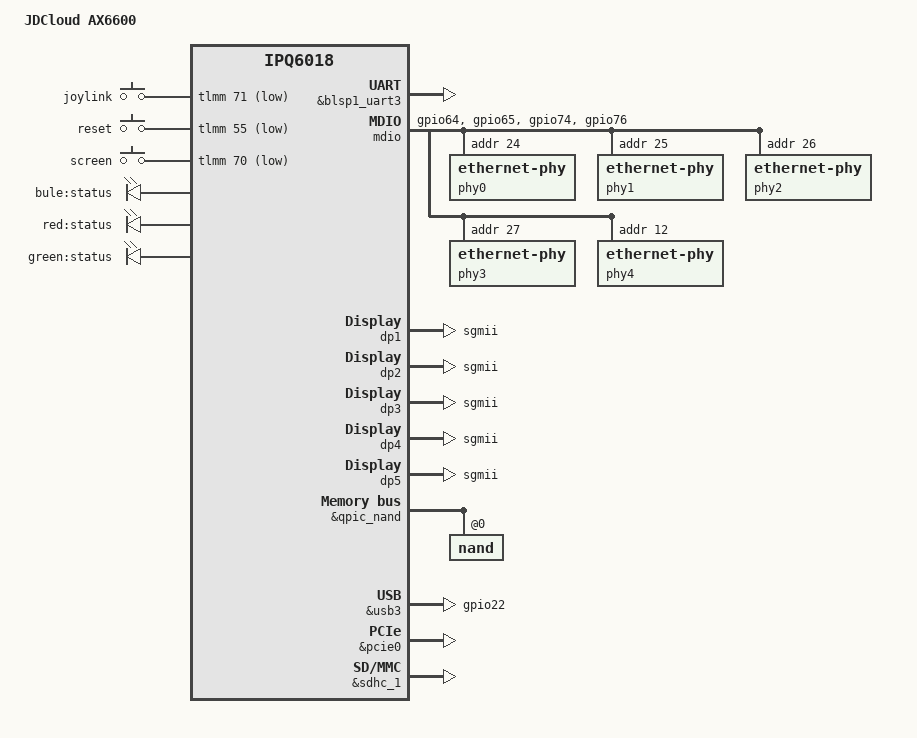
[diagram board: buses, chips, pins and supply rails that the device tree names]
// SPDX-License-Identifier: (GPL-2.0+ OR BSD-3-Clause)
/*
 * IPQ6018 CP01 board device tree source
 *
 * Copyright (c) 2019-2021 The Linux Foundation. All rights reserved.
 */

/dts-v1/;

#include "ipq6018.dtsi"
#include "ipq6018-512m.dtsi"
#include "ipq6018-ess.dtsi"
#include "ipq6018-nss.dtsi"

#include <dt-bindings/input/input.h>

/ {
	model = "JDCloud AX6600";
	compatible = "jdcloud,ax6600", "qcom,ipq6018-ap-cp01-c3", "qcom,ipq6018-ap-cp01", "qcom,ipq6018";
	aliases {
		led-boot = &led_red;
		led-failsafe = &led_red;
		led-running = &led_green;
		led-upgrade = &led_green;
		serial0 = &blsp1_uart3;
		sdhc1 = &sdhc_1;
		/*
		 * Aliases as required by u-boot
		 * to patch MAC addresses
		 */
		ethernet0 = "/soc/dp1";
		ethernet1 = "/soc/dp2";
		ethernet2 = "/soc/dp3";
		ethernet3 = "/soc/dp4";
		ethernet4 = "/soc/dp5";
	};

	chosen {
		bootargs = "console=ttyMSM0,115200,n8";
		bootargs-append = " rootfstype=squashfs,ext4 swiotlb=1 coherent_pool=2M";
	};


&blsp1_uart3 {
	pinctrl-0 = <&serial_3_pins>;
	pinctrl-names = "default";
	status = "ok";
};

&tlmm {
	/*
	 * When your device is JDCloud, you need to add this compatible,
	 * if gpio > 20, for example gpio65, you should use gpio64 in this dts!
	 */
	compatible = "jdc,nmsl-pinctrl";
	mdio_pins: mdio_pinmux {
		mux_0 {
			pins = "gpio64";
			function = "mdc";
			drive-strength = <8>;
			bias-pull-up;
		};
		mux_1 {
			pins = "gpio65";
			function = "mdio";
			drive-strength = <8>;
			bias-pull-up;
		};
		mux_2 {
			pins = "gpio74";
			function = "gpio";
			bias-pull-up;
		};
		mux_3 {
			pins = "gpio76";
			function = "gpio";
			bias-pull-up;
		};
	};

	tmp1628_pins: tmp1628_pins {
		dio {
			pins = "gpio73";
			function = "gpio";
			drive-strength = <8>;
			bias-pull-down;
		};

		clk {
			pins = "gpio72";
			function = "gpio";
			drive-strength = <8>;
			bias-pull-down;
		};

		stb1 {
			pins = "gpio68";
			function = "gpio";
			drive-strength = <8>;
			bias-pull-down;
		};

		stb2 {
			pins = "gpio69";
			function = "gpio";
			drive-strength = <8>;
			bias-pull-down;
		};
	};

	button_pins: button_pins {
		joylink_button {
			pins = "gpio71";
			function = "gpio";
			drive-strength = <8>;
			bias-pull-down;
		};

		reset_button {
			pins = "gpio55";
			function = "gpio";
			drive-strength = <8>;
			bias-pull-down;
		};

		screen_button {
			pins = "gpio70";
			function = "gpio";
			drive-strength = <8>;
			bias-pull-down;
		};
	};

	leds_pins: leds_pins {
		led_b1 {
			pins = "gpio78";
			function = "gpio";
			drive-strength = <8>;
			bias-pull-down;
		};

		led_r1 {
			pins = "gpio56";
			function = "gpio";
			drive-strength = <8>;
			bias-pull-down;
		};

		led_g1 {
			pins = "gpio57";
			function = "gpio";
			drive-strength = <8>;
			bias-pull-down;
		};
	};

	usb_power: usb_power {
		pins = "gpio22";
		function = "gpio";
		drive-strength = <8>;
		output-high;
		bias-pull-up;
	};
};

&soc {
	mdio: mdio@90000 {
		pinctrl-0 = <&mdio_pins>;
		pinctrl-names = "default";
		phy-reset-gpio = <&tlmm 74 1 &tlmm 76 1>;
		status = "ok";
		phy0: ethernet-phy@0 {
			reg = <24>;
		};
		phy1: ethernet-phy@1 {
			reg = <25>;
		};
		phy2: ethernet-phy@2 {
			reg = <26>;
		};
		phy3: ethernet-phy@3 {
			reg = <27>;
		};
		phy4: ethernet-phy@4 {
			reg = <12>;
		};
	};

	dp1 {
		device_type = "network";
		compatible = "qcom,nss-dp";
		qcom,id = <1>;
		reg = <0x3a001000 0x200>;
		qcom,mactype = <0>;
		local-mac-address = [000000000000];
		qcom,link-poll = <1>;
		qcom,phy-mdio-addr = <24>;
		phy-mode = "sgmii";
	};

	dp2 {
		device_type = "network";
		compatible = "qcom,nss-dp";
		qcom,id = <2>;
		reg = <0x3a001200 0x200>;
		qcom,mactype = <0>;
		local-mac-address = [000000000000];
		qcom,link-poll = <1>;
		qcom,phy-mdio-addr = <25>;
		phy-mode = "sgmii";
	};

	dp3 {
		device_type = "network";
		compatible = "qcom,nss-dp";
		qcom,id = <3>;
		reg = <0x3a001400 0x200>;
		qcom,mactype = <0>;
		local-mac-address = [000000000000];
		qcom,link-poll = <1>;
		qcom,phy-mdio-addr = <26>;
		phy-mode = "sgmii";
	};

	dp4 {
		device_type = "network";
		compatible = "qcom,nss-dp";
		qcom,id = <4>;
		reg = <0x3a001600 0x200>;
		qcom,mactype = <0>;
		local-mac-address = [000000000000];
		qcom,link-poll = <1>;
		qcom,phy-mdio-addr = <27>;
		phy-mode = "sgmii";
	};

	dp5 {
		device_type = "network";
		compatible = "qcom,nss-dp";
		qcom,id = <5>;
		reg = <0x3a001800 0x200>;
		qcom,mactype = <0>;
		local-mac-address = [000000000000];
		qcom,link-poll = <1>;
		qcom,phy-mdio-addr = <12>;
		phy-mode = "sgmii";
	};

	ess-switch@3a000000 {
		switch_cpu_bmp = <0x1>;  /* cpu port bitmap */
		switch_lan_bmp = <0x1e>; /* lan port bitmap */
		switch_wan_bmp = <0x20>; /* wan port bitmap */
		switch_inner_bmp = <0xc0>; /*inner port bitmap*/
		switch_mac_mode = <0x0>; /* mac mode for uniphy instance0*/
		switch_mac_mode1 = <0xf>; /* mac mode for uniphy instance1*/
		switch_mac_mode2 = <0xff>; /* mac mode for uniphy instance2*/
		qcom,port_phyinfo {
			port@0 {
				port_id = <1>;
				phy_address = <24>;
			};
			port@1 {
				port_id = <2>;
				phy_address = <25>;
			};
			port@2 {
				port_id = <3>;
				phy_address = <26>;
			};
			port@3 {
				port_id = <4>;
				phy_address = <27>;
			};
			port@4 {
				port_id = <5>;
				phy_address = <12>;
				port_mac_sel = "QGMAC_PORT";
			};
		};
	};

	keys {
		compatible = "gpio-keys";
		pinctrl-0 = <&button_pins>;
		pinctrl-names = "default";

		joylink {
			label = "joylink";
			linux,code = <BTN_0>;
			gpios = <&tlmm 71 GPIO_ACTIVE_LOW>;
			linux,input-type = <1>;
			debounce-interval = <60>;
		};

		reset {
			label = "reset";
			linux,code = <KEY_RESTART>;
			gpios = <&tlmm 55 GPIO_ACTIVE_LOW>;
			linux,input-type = <1>;
			debounce-interval = <60>;
		};

		screen {
			label = "screen";
			linux,code = <BTN_1>;
			gpios = <&tlmm 70 GPIO_ACTIVE_LOW>;
			linux,input-type = <1>;
			debounce-interval = <60>;
		};
	};

	leds {
		compatible = "gpio-leds";
		pinctrl-0 = <&leds_pins>;
		pinctrl-names = "default";

		led_blue: led_b1 {
			label = "bule:status";
			gpio = <&tlmm 78 GPIO_ACTIVE_HIGH>;
		};

		led_red: led_r1 {
			label = "red:status";
			gpio = <&tlmm 56 GPIO_ACTIVE_HIGH>;
		};

		led_green: led_g1 {
			label = "green:status";
			gpio = <&tlmm 57 GPIO_ACTIVE_HIGH>;
		};
	};

	tmp1628_gpio {
		compatible = "tmp1628_led";

		led@74 {
			lable = "dio";
			gpios = <&tlmm 73 GPIO_ACTIVE_HIGH>;
			direction = "out";
		};

		led@73 {
			lable = "clk";
			gpios = <&tlmm 72 GPIO_ACTIVE_HIGH>;
			direction = "out";
		};

		led@69 {
			lable = "stb1";
			gpios = <&tlmm 68 GPIO_ACTIVE_HIGH>;
			direction = "out";
		};

		led@70 {
			lable = "stb2";
			gpios = <&tlmm 69 GPIO_ACTIVE_HIGH>;
			direction = "out";
		};
	};
};

&qpic_bam {
	status = "ok";
};

&qpic_nand {
	status = "ok";

	nand@0 {
		reg = <0>;
		#address-cells = <1>;
		#size-cells = <1>;

		nand-ecc-strength = <4>;
		nand-ecc-step-size = <512>;
		nand-bus-width = <8>;
	};
};

&qusb_phy_0 {
	status = "ok";
};

&ssphy_0 {
	status = "ok";
};

&usb3 {
	pinctrl-0 = <&usb_power>;
	pinctrl-names = "default";
	status = "ok";
};

&nss_crypto {
	status = "ok";
};

&pcie_phy {
	status = "ok";
};

&pcie0 {
	status = "ok";
	perst-gpio = <&tlmm 52 GPIO_ACTIVE_LOW>;
	pcie0_rp {
		status = "ok";
		reg = <0 0 0 0 0 >;

		mhi_0: qcom,mhi@0 {
			status = "ok";
			reg = <0 0 0 0 0 >;
			qrtr_instance_id = <0x20>;
		};
	};
};

&mhi_test {
       status = "ok";
};

&wifi0 {
	qcom,board_id = <0x13>;
	status = "ok";
};

&sdhc_1 {
	status = "ok";
};
